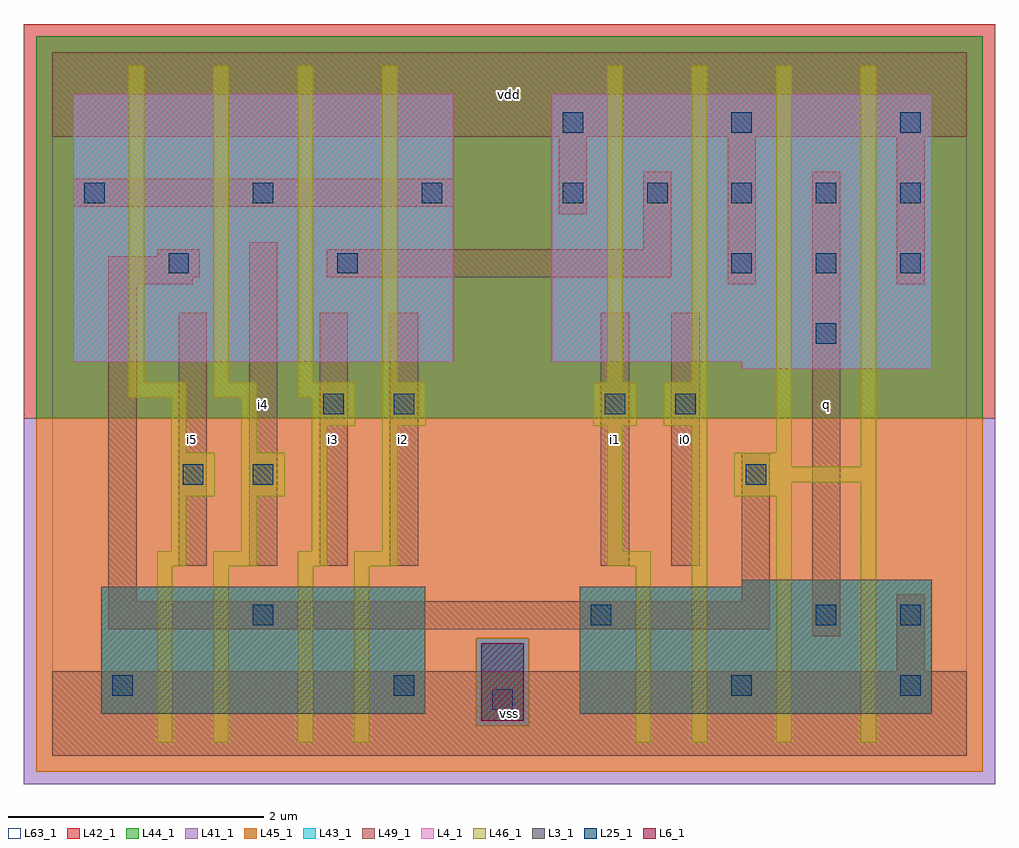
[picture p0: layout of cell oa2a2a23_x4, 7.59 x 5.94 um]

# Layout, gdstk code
import gdstk
lib = gdstk.Library(unit=1e-6, precision=1e-09)
def R(c, l, rs):  # rectangles x0, y0, x1, y1
    for r in rs: c.add(gdstk.rectangle(r[:2], r[2:], *l))
def A(c, l, x, y, w, h, nx, ny, dx, dy):  # array of equal rectangles
    R(c, l, [(x+i*dx, y+j*dy, x+i*dx+w, y+j*dy+h) for i in range(nx) for j in range(ny)])
L3_1 = (3, 1)
L4_1 = (4, 1)
L6_1 = (6, 1)
L25_1 = (25, 1)
L41_1 = (41, 1)
L42_1 = (42, 1)
L43_1 = (43, 1)
L44_1 = (44, 1)
L45_1 = (45, 1)
L46_1 = (46, 1)
L49_1 = (49, 1)
L63_1 = (63, 1)

oa2a2a23_x4 = lib.new_cell('oa2a2a23_x4')
R(oa2a2a23_x4, L3_1, [(0.385,0.33,2.915,1.32), (4.125,0.33,6.875,1.32), (5.39,1.32,6.875,1.375)])
R(oa2a2a23_x4, L4_1, [(5.39,3.025,6.875,3.08), (0.165,3.08,3.135,5.17), (3.905,3.08,6.875,5.17)])
R(oa2a2a23_x4, L6_1, [(3.355,0.275,3.685,0.88)])
A(oa2a2a23_x4, L25_1, 5.31, 3.77, 0.16, 0.16, 3, 1, 0.66, 0)
A(oa2a2a23_x4, L25_1, 0.25, 4.32, 0.16, 0.16, 3, 1, 1.32, 0)
A(oa2a2a23_x4, L25_1, 3.99, 4.32, 0.16, 0.16, 5, 1, 0.66, 0)
A(oa2a2a23_x4, L25_1, 3.99, 4.87, 0.16, 0.16, 3, 1, 1.32, 0)
R(oa2a2a23_x4, L25_1, [(3.44,0.36,3.6,0.52), (0.47,0.47,0.63,0.63), (2.67,0.47,2.83,0.63), (5.31,0.47,5.47,0.63), (6.63,0.47,6.79,0.63), (1.57,1.02,1.73,1.18), (4.21,1.02,4.37,1.18), (5.97,1.02,6.13,1.18), (6.63,1.02,6.79,1.18), (1.02,2.12,1.18,2.28), (1.57,2.12,1.73,2.28), (5.42,2.12,5.58,2.28), (2.12,2.67,2.28,2.83), (2.67,2.67,2.83,2.83), (4.32,2.67,4.48,2.83), (4.87,2.67,5.03,2.83), (5.97,3.22,6.13,3.38), (0.91,3.77,1.07,3.93), (2.23,3.77,2.39,3.93)])
R(oa2a2a23_x4, L41_1, [(-0.22,-0.22,7.37,2.64)])
R(oa2a2a23_x4, L42_1, [(-0.22,2.64,7.37,5.72)])
R(oa2a2a23_x4, L43_1, [(3.355,0.275,3.685,0.88), (0.385,0.33,2.915,1.32), (4.125,0.33,6.875,1.32), (5.39,1.32,6.875,1.375), (5.39,3.025,6.875,3.08), (0.165,3.08,3.135,5.17), (3.905,3.08,6.875,5.17)])
R(oa2a2a23_x4, L44_1, [(3.315,0.235,3.725,0.92), (-0.125,2.64,7.275,5.625)])
R(oa2a2a23_x4, L45_1, [(-0.125,-0.125,7.275,0.235), (-0.125,0.235,3.315,0.92), (3.725,0.235,7.275,0.92), (-0.125,0.92,7.275,2.64)])
A(oa2a2a23_x4, L46_1, 0.6, 2.92, 0.12, 2.475, 4, 1, 0.66, 0)
R(oa2a2a23_x4, L46_1, [(0.82,0.105,0.94,1.48), (1.26,0.105,1.38,1.48), (1.92,0.105,2.04,1.48), (2.36,0.105,2.48,1.48), (4.56,0.105,4.68,1.48), (5,0.105,5.12,2.58), (5.66,0.105,5.78,2.03), (6.32,0.105,6.44,2.14), (0.82,1.48,1.05,1.6), (1.26,1.48,1.6,1.6), (1.92,1.48,2.15,1.6), (2.36,1.48,2.7,1.6), (4.34,1.48,4.68,1.6), (0.93,1.6,1.05,2.03), (1.48,1.6,1.6,2.03), (2.03,1.6,2.15,2.58), (2.58,1.6,2.7,2.58), (4.34,1.6,4.46,2.58), (0.93,2.03,1.27,2.37), (1.48,2.03,1.82,2.37), (5.33,2.03,5.78,2.14), (5.33,2.14,6.44,2.26), (5.33,2.26,5.78,2.37), (6.32,2.26,6.44,5.395), (0.93,2.37,1.05,2.8), (1.48,2.37,1.6,2.8), (5.66,2.37,5.78,5.395), (2.03,2.58,2.37,2.8), (2.58,2.58,2.92,2.92), (4.23,2.58,4.57,2.92), (4.78,2.58,5.12,2.92), (0.6,2.8,1.05,2.92), (1.26,2.8,1.6,2.92), (1.92,2.8,2.37,2.92), (4.34,2.92,4.46,5.395), (5,2.92,5.12,5.395)])
R(oa2a2a23_x4, L49_1, [(0,0,7.15,0.66), (6.6,0.66,6.82,1.265), (5.94,0.935,6.16,4.565), (0.44,0.99,5.61,1.21), (0.44,1.21,0.66,3.685), (5.39,1.21,5.61,2.365), (0.99,1.485,1.21,3.465), (1.54,1.485,1.76,4.015), (2.09,1.485,2.31,3.465), (2.64,1.485,2.86,3.465), (4.29,1.485,4.51,3.465), (4.84,1.485,5.06,3.465), (0.44,3.685,1.1,3.74), (5.28,3.685,5.5,4.84), (6.6,3.685,6.82,4.84), (0.44,3.74,1.155,3.905), (2.145,3.74,4.84,3.96), (0.825,3.905,1.155,3.96), (4.62,3.96,4.84,4.565), (3.96,4.235,4.18,4.84), (0.165,4.29,3.135,4.51), (0,4.84,7.15,5.5)])
R(oa2a2a23_x4, L63_1, [(0,0,7.15,5.5)])
oa2a2a23_x4.add(gdstk.Label('i5', (1.1,2.475), layer=49, texttype=1))
oa2a2a23_x4.add(gdstk.Label('i4', (1.65,2.75), layer=49, texttype=1))
oa2a2a23_x4.add(gdstk.Label('i3', (2.2,2.475), layer=49, texttype=1))
oa2a2a23_x4.add(gdstk.Label('vss', (3.575,0.33), layer=49, texttype=1))
oa2a2a23_x4.add(gdstk.Label('i2', (2.75,2.475), layer=49, texttype=1))
oa2a2a23_x4.add(gdstk.Label('vdd', (3.575,5.17), layer=49, texttype=1))
oa2a2a23_x4.add(gdstk.Label('i1', (4.4,2.475), layer=49, texttype=1))
oa2a2a23_x4.add(gdstk.Label('i0', (4.95,2.475), layer=49, texttype=1))
oa2a2a23_x4.add(gdstk.Label('q', (6.05,2.75), layer=49, texttype=1))

lib.write_gds('oa2a2a23_x4.gds')
